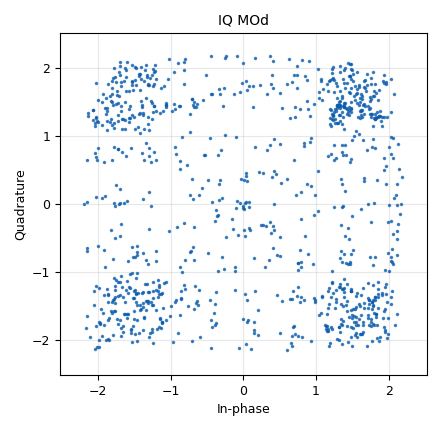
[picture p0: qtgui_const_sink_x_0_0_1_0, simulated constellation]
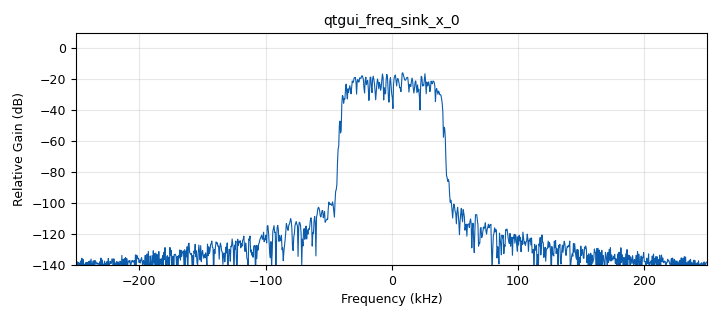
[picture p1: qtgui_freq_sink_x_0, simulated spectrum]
options:
  parameters:
    generate_options: qt_gui
    id: plutoTest
    output_language: python
    title: Not titled yet
  states: {}

blocks:
- name: BW
  id: variable
  parameters:
    value: '200000'
  states: {}
- name: CMA
  id: variable_adaptive_algorithm
  parameters:
    cons: mod_obj
    modulus: '4'
    step_size: '.0001'
    type: cma
  states: {}
- name: excess_bw
  id: variable
  parameters:
    value: '.350'
  states: {}
- name: freq
  id: variable
  parameters:
    value: '880000000'
  states: {}
- name: mod_obj
  id: variable_constellation
  parameters:
    precision: '8'
    type: qpsk
  states: {}
- name: rrc_taps
  id: variable
  parameters:
    value: firdes.root_raised_cosine(1.0,samp_rate,samp_rate/sps,excess_bw,21*sps)
  states: {}
- name: samp_rate
  id: variable
  parameters:
    value: '1000000'
  states: {}
- name: sps
  id: variable
  parameters:
    value: '8'
  states: {}
- name: timing_loop_bw
  id: variable_qtgui_range
  parameters:
    label: 'Time: BW'
    start: '0.0'
    step: '0.01'
    stop: '0.2'
    value: 6.28/100.0
    widget: slider
  states: {}
- name: analog_random_source_x_0
  id: analog_random_source_x
  parameters:
    max: '255'
    min: '0'
    num_samps: '10000'
    repeat: 'True'
    type: byte
  states: {}
- name: blocks_multiply_const_vxx_0
  id: blocks_multiply_const_vxx
  parameters:
    const: '0.5'
    type: complex
  states: {}
- name: digital_constellation_modulator_0
  id: digital_constellation_modulator
  parameters:
    constellation: mod_obj
    differential: 'True'
    excess_bw: '0.35'
    samples_per_symbol: sps
  states: {}
- name: osmosdr_sink_0
  id: osmosdr_sink
  parameters:
    bb_gain0: '20'
    bw0: samp_rate/2.0
    freq0: freq
    gain0: '40'
    if_gain0: '20'
    sample_rate: samp_rate
    sync: pc_clock
    type: fc32
  states: {state: disabled}
- name: qtgui_const_sink_x_0_0_1_0
  id: qtgui_const_sink_x
  parameters:
    autoscale: 'True'
    gui_hint: 0,1,1,1
    marker1: '-1'
    name: '"IQ MOd"'
    size: '1024'
    style1: '1'
    type: complex
  states: {}
- name: qtgui_freq_sink_x_0
  id: qtgui_freq_sink_x
  parameters:
    bw: samp_rate/2
    fc: '0'
    fftsize: '1024'
    gui_hint: 0,0,1,1
    type: complex
  states: {}
- name: soapy_plutosdr_sink_0
  id: soapy_plutosdr_sink
  parameters:
    bandwidth: '500000'
    center_freq: freq
    gain: '60'
    samp_rate: samp_rate
    type: fc32
  states: {}
- name: uhd_usrp_sink_0
  id: uhd_usrp_sink
  parameters:
    ant0: '"TX/RX"'
    bw0: '1000000'
    center_freq0: freq
    gain0: '40'
    samp_rate: samp_rate
    sync: sync
    type: fc32
  states: {state: disabled}

connections:
- [analog_random_source_x_0, '0', digital_constellation_modulator_0, '0']
- [blocks_multiply_const_vxx_0, '0', soapy_plutosdr_sink_0, '0']
- [digital_constellation_modulator_0, '0', blocks_multiply_const_vxx_0, '0']
- [digital_constellation_modulator_0, '0', osmosdr_sink_0, '0']
- [digital_constellation_modulator_0, '0', qtgui_const_sink_x_0_0_1_0, '0']
- [digital_constellation_modulator_0, '0', qtgui_freq_sink_x_0, '0']
- [digital_constellation_modulator_0, '0', uhd_usrp_sink_0, '0']

metadata:
  file_format: 1
  grc_version: 3.10.6.0
